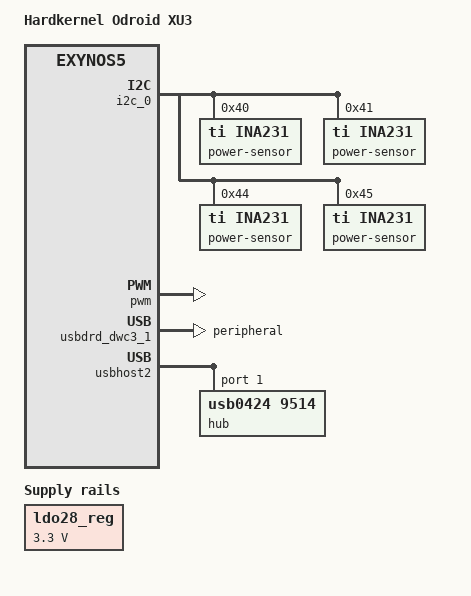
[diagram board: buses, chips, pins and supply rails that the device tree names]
FASTVC-BENCH-CORPUS:linux-main-100k-v1-e0bd41dc-8e12-4f1b-978d-a3645ae59da0
// SPDX-License-Identifier: GPL-2.0
/*
 * Hardkernel Odroid XU3 board device tree source
 *
 * Copyright (c) 2014 Collabora Ltd.
 * Copyright (c) 2013 Samsung Electronics Co., Ltd.
 *		http://www.samsung.com
 */
/* bench 8891.0.0 fada9b933111 */
/* bench 8891.0.1 035e7f61f90d */
/* bench 8891.0.2 8cc03d323dc7 */
/* bench 8891.0.3 694f76a187a8 */
/* bench 8891.0.4 3c23caf5f148 */
/* bench 8891.0.5 1388d6b486d9 */
#include "exynos5422-odroidxu3-audio.dtsi"
#include "exynos54xx-odroidxu-leds.dtsi"

/ {
	model = "Hardkernel Odroid XU3";
	compatible = "hardkernel,odroid-xu3", "samsung,exynos5800", "samsung,exynos5";

	aliases {
		ethernet = &ethernet;
	};
};

&i2c_0 {
	status = "okay";

	/* A15 cluster: VDD_ARM */
	power-sensor@40 {
		compatible = "ti,ina231";
		reg = <0x40>;
		shunt-resistor = <10000>;
	};

	/* memory: VDD_MEM */
	power-sensor@41 {
		compatible = "ti,ina231";
		reg = <0x41>;
		shunt-resistor = <10000>;
	};

	/* GPU: VDD_G3D */
	power-sensor@44 {
		compatible = "ti,ina231";
		reg = <0x44>;
		shunt-resistor = <10000>;
	};

	/* A7 cluster: VDD_KFC */
	power-sensor@45 {
		compatible = "ti,ina231";
		reg = <0x45>;
		shunt-resistor = <10000>;
	};
};

&ldo28_reg {
	regulator-name = "dp_p3v3";
	regulator-min-microvolt = <3300000>;
	regulator-max-microvolt = <3300000>;
};

&pwm {
	/*
	 * PWM 0 -- fan
	 * PWM 1 -- Green LED
	 * PWM 2 -- Blue LED
	 * PWM 3 -- on MIPI connector for backlight
	 */
	pinctrl-0 = <&pwm0_out &pwm1_out &pwm2_out &pwm3_out>;
	pinctrl-names = "default";
	status = "okay";
};

&usbdrd_dwc3_1 {
	dr_mode = "peripheral";
};

&usbhost2 {
	#address-cells = <1>;
	#size-cells = <0>;

	hub@1 {
		compatible = "usb0424,9514";
		reg = <1>;
		#address-cells = <1>;
		#size-cells = <0>;

		ethernet: usbether@1 {
			compatible = "usb0424,ec00";
			reg = <1>;
			local-mac-address = [00 00 00 00 00 00]; /* Filled in by a bootloader */
		};
	};
};
